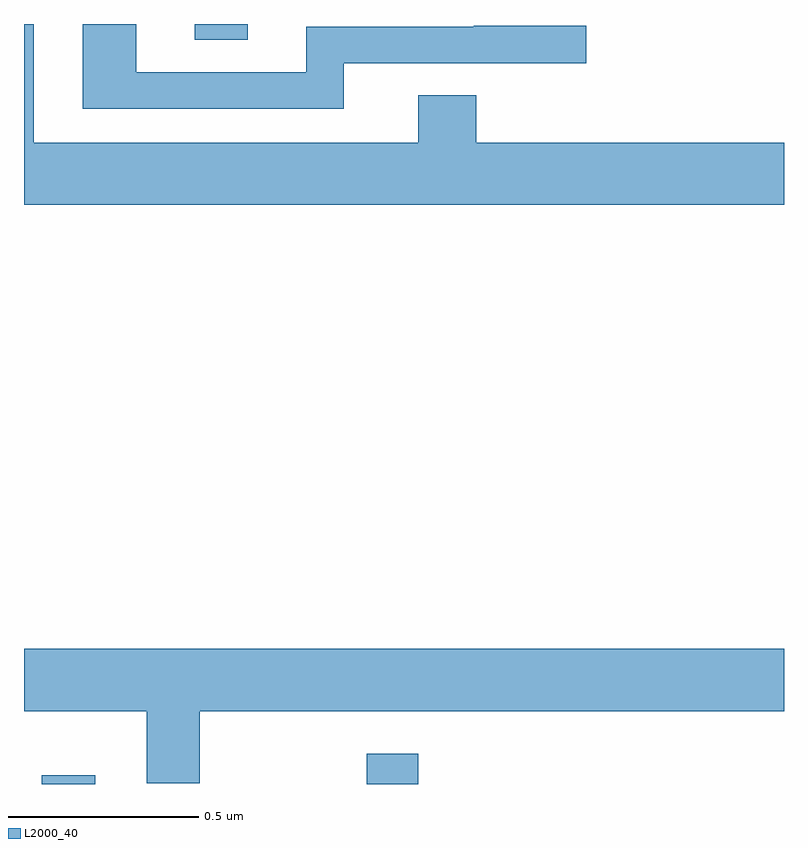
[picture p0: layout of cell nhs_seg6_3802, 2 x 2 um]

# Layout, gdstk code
import gdstk
lib = gdstk.Library(unit=1e-6, precision=1e-09)
def R(c, l, rs):  # rectangles x0, y0, x1, y1
    for r in rs: c.add(gdstk.rectangle(r[:2], r[2:], *l))
def P(c, l, *ps):  # polygons
    for p in ps: c.add(gdstk.Polygon(p, *l))
L2000_40 = (2000, 40)

nhs_seg6_3802 = lib.new_cell('nhs_seg6_3802')
R(nhs_seg6_3802, L2000_40, [(162.047,924.5,162.187,924.523), (162.902,924.5,163.038,924.58), (162.449,926.458,162.589,926.5)])
P(nhs_seg6_3802, L2000_40, [(164,926.188),(163.19,926.188),(163.19,926.312),(163.037,926.312),(163.037,926.188),(162.025,926.188),(162.025,926.5),(162,926.5),(162,926.024),(164,926.024)],
  [(162.842,926.397),(163.48,926.397),(163.48,926.496),(163.183,926.496),(163.183,926.493),(162.743,926.493),(162.743,926.373),(162.295,926.373),(162.295,926.5),(162.155,926.5),(162.155,926.277),(162.842,926.277)],
  [(162.462,924.692),(164,924.692),(164,924.856),(162,924.856),(162,924.692),(162.323,924.692),(162.323,924.502),(162.462,924.502)])

lib.write_gds('nhs_seg6_3802.gds')
